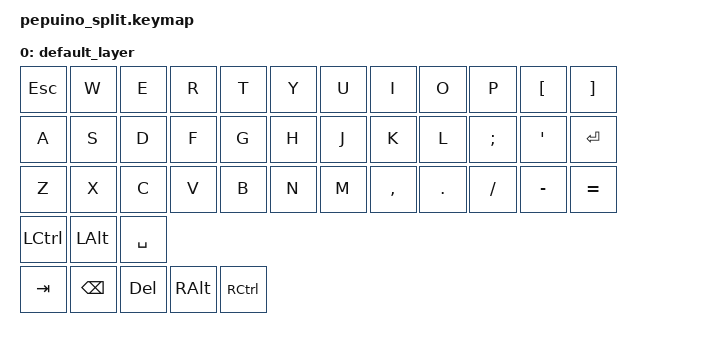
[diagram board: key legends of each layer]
#include <behaviors.dtsi>
#include <dt-bindings/zmk/keys.h>

/ {
    keymap {
        compatible = "zmk,keymap";

        default_layer {
            bindings = <
                &kp ESC     &kp W       &kp E       &kp R       &kp T       &kp Y       &kp U       &kp I       &kp O       &kp P       &kp LBKT    &kp RBKT

                &kp A       &kp S       &kp D       &kp F       &kp G       &kp H       &kp J       &kp K       &kp L       &kp SEMI    &kp SQT     &kp ENTER

                &kp Z       &kp X       &kp C       &kp V       &kp B       &kp N       &kp M       &kp COMMA   &kp DOT     &kp FSLH    &kp MINUS  &kp EQUAL

                &kp LCTRL   &kp LALT    &kp SPACE
                &kp TAB     &kp BSPC    &kp DEL     &kp RALT    &kp RCTRL
            >;
        };
    };
};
